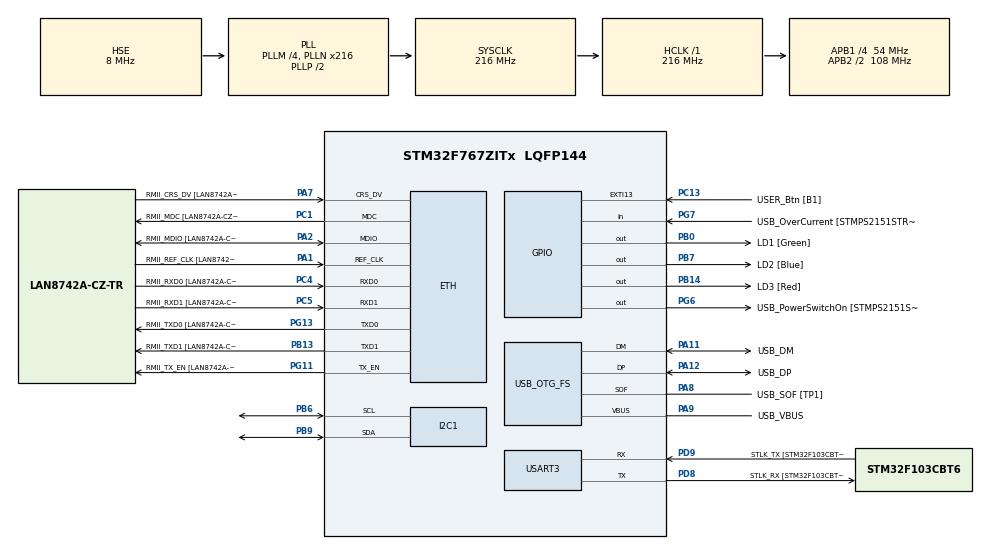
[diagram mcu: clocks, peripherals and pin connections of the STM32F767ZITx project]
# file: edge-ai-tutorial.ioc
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ADC1.Channel-0\#ChannelRegularConversion=ADC_CHANNEL_TEMPSENSOR
ADC1.NbrOfConversionFlag=1
ADC1.Rank-0\#ChannelRegularConversion=1
ADC1.SamplingTime-0\#ChannelRegularConversion=ADC_SAMPLETIME_480CYCLES
ADC1.master=1
CORTEX_M7.CPU_DCache=Enabled
CORTEX_M7.CPU_ICache=Enabled
CORTEX_M7.default_mode_Activation=1
ETH.MediaInterface=HAL_ETH_RMII_MODE
ETH.PHY_Name=LAN8742A_PHY_ADDRESS
ETH.PHY_Value=0
ETH.PhyAddress=0
FREERTOS.Tasks01=defaultTask,24,1024,StartDefaultTask,Default,NULL,Dynamic,NULL,NULL
FREERTOS.configUSE_NEWLIB_REENTRANT=1
I2C1.Timing=0x20404768
LWIP.BSP.number=1
LWIP.IP_ADDRESS=192.168.010.002
LWIP.LWIP_DHCP=0
LWIP.LWIP_NETIF_STATUS_CALLBACK=1
LWIP.NETMASK_ADDRESS=255.255.255.000
LWIP.Version=v2.1.2_Cube
LWIP0.BSP.STBoard=false
LWIP0.BSP.api=BSP_COMPONENT_DRIVER
LWIP0.BSP.component=LAN8742
LWIP0.BSP.instance=LAN8742
LWIP0.BSP.name=Driver_PHY
LWIP0.BSP.semaphore=S_LAN8742
LWIP0.BSP.solution=LAN8742
Mcu.Family=STM32F7
Mcu.Name=STM32F767ZITx
Mcu.Package=LQFP144
NVIC.ETH_IRQn=true\:5\:0\:false\:false\:true\:true\:false\:true\:true
NVIC.OTG_FS_IRQn=true\:5\:0\:false\:false\:true\:true\:false\:true\:true
NVIC.PriorityGroup=NVIC_PRIORITYGROUP_4
NVIC.TIM8_TRG_COM_TIM14_IRQn=true\:15\:0\:false\:false\:true\:false\:false\:true\:true
NVIC.TimeBase=TIM8_TRG_COM_TIM14_IRQn
NVIC.TimeBaseIP=TIM14
PA1.GPIO_Label=RMII_REF_CLK [LAN8742A-CZ-TR_REFCLK0]
PA1.Mode=RMII
PA1.Signal=ETH_REF_CLK
PA10.GPIO_Label=USB_ID
PA10.Signal=USB_OTG_FS_ID
PA11.GPIO_Label=USB_DM
PA11.Mode=Device_Only
PA11.Signal=USB_OTG_FS_DM
PA12.GPIO_Label=USB_DP
PA12.Mode=Device_Only
PA12.Signal=USB_OTG_FS_DP
PA13.GPIO_Label=TMS
PA13.Mode=Serial_Wire
PA13.Signal=SYS_JTMS-SWDIO
PA14.GPIO_Label=TCK
PA14.Mode=Serial_Wire
PA14.Signal=SYS_JTCK-SWCLK
PA2.GPIO_Label=RMII_MDIO [LAN8742A-CZ-TR_MDIO]
PA2.Mode=RMII
PA2.Signal=ETH_MDIO
PA7.GPIO_Label=RMII_CRS_DV [LAN8742A-CZ-TR_CRS_DV]
PA7.Mode=RMII
PA7.Signal=ETH_CRS_DV
PA8.GPIO_Label=USB_SOF [TP1]
PA8.Mode=Activate_SOF_FS
PA8.Signal=USB_OTG_FS_SOF
PA9.GPIO_Label=USB_VBUS
PA9.Mode=Activate_VBUS
PA9.Signal=USB_OTG_FS_VBUS
PB0.GPIO_Label=LD1 [Green]
PB0.Signal=GPIO_Output
PB13.GPIO_Label=RMII_TXD1 [LAN8742A-CZ-TR_TXD1]
PB13.Mode=RMII
PB13.Signal=ETH_TXD1
PB14.GPIO_Label=LD3 [Red]
PB14.Signal=GPIO_Output
PB3.GPIO_Label=SWO
PB3.Signal=SYS_JTDO-SWO
PB6.Mode=I2C
PB6.Signal=I2C1_SCL
PB7.GPIO_Label=LD2 [Blue]
PB7.Signal=GPIO_Output
PB9.Mode=I2C
PB9.Signal=I2C1_SDA
PC1.GPIO_Label=RMII_MDC [LAN8742A-CZ-TR_MDC]
PC1.Mode=RMII
PC1.Signal=ETH_MDC
PC13.GPIO_Label=USER_Btn [B1]
PC13.Signal=GPXTI13
PC14/OSC32_IN.Mode=LSE-External-Oscillator
PC14/OSC32_IN.Signal=RCC_OSC32_IN
PC15/OSC32_OUT.Mode=LSE-External-Oscillator
PC15/OSC32_OUT.Signal=RCC_OSC32_OUT
PC4.GPIO_Label=RMII_RXD0 [LAN8742A-CZ-TR_RXD0]
PC4.Mode=RMII
PC4.Signal=ETH_RXD0
PC5.GPIO_Label=RMII_RXD1 [LAN8742A-CZ-TR_RXD1]
PC5.Mode=RMII
PC5.Signal=ETH_RXD1
PD8.GPIO_Label=STLK_RX [STM32F103CBT6_PA3]
PD8.Mode=Asynchronous
PD8.Signal=USART3_TX
PD9.GPIO_Label=STLK_TX [STM32F103CBT6_PA2]
PD9.Mode=Asynchronous
PD9.Signal=USART3_RX
PG11.GPIO_Label=RMII_TX_EN [LAN8742A-CZ-TR_TXEN]
PG11.Mode=RMII
PG11.Signal=ETH_TX_EN
PG13.GPIO_Label=RMII_TXD0 [LAN8742A-CZ-TR_TXD0]
PG13.Mode=RMII
PG13.Signal=ETH_TXD0
PG6.GPIO_Label=USB_PowerSwitchOn [STMPS2151STR_EN]
PG6.Signal=GPIO_Output
PG7.GPIO_Label=USB_OverCurrent [STMPS2151STR_FAULT]
PG7.Signal=GPIO_Input
PH0/OSC_IN.GPIO_Label=MCO [STM32F103CBT6_PA8]
PH0/OSC_IN.Mode=HSE-External-Clock-Source
PH0/OSC_IN.Signal=RCC_OSC_IN
PH1/OSC_OUT.Mode=HSE-External-Clock-Source
PH1/OSC_OUT.Signal=RCC_OSC_OUT
ProjectManager.HeapSize=0x800
ProjectManager.StackSize=0x800
ProjectManager.TargetToolchain=CMake
RCC.48MHZClocksFreq_Value=24000000
RCC.AHBFreq_Value=216000000
RCC.APB1CLKDivider=RCC_HCLK_DIV4
RCC.APB1Freq_Value=54000000
RCC.APB1TimFreq_Value=108000000
RCC.APB2CLKDivider=RCC_HCLK_DIV2
RCC.APB2Freq_Value=108000000
RCC.APB2TimFreq_Value=216000000
RCC.CortexFreq_Value=216000000
RCC.HCLKFreq_Value=216000000
RCC.HSE_VALUE=8000000
RCC.HSI_VALUE=16000000
RCC.PLLM=4
RCC.PLLMUL=RCC_PLL_MUL9
RCC.PLLN=216
RCC.PLLQ=9
RCC.PRESCALERUSB=RCC_USBCLKSOURCE_PLL_DIV1_5
RCC.SYSCLKFreq_VALUE=216000000
RCC.SYSCLKSource=RCC_SYSCLKSOURCE_PLLCLK
RCC.SYSCLKSourceVirtual=RCC_SYSCLKSOURCE_PLLCLK
RCC.USBFreq_Value=48000000
RCC.VCOOutputFreq_Value=432000000
STMicroelectronics.X-CUBE-AI.10.2.1.ActivationBufferSizeList=7324
STMicroelectronics.X-CUBE-AI.10.2.1.ActivationBuffers=pool0
STMicroelectronics.X-CUBE-AI.10.2.1.ActivationNames=pool0
STMicroelectronics.X-CUBE-AI.10.2.1.ActivationSizes=AI_NETWORK_DATA_ACTIVATION_1_SIZE
STMicroelectronics.X-CUBE-AI.10.2.1.HeapSize=0x800
STMicroelectronics.X-CUBE-AI.10.2.1.InternalRamActivationBufferMaxSize=AI_NETWORK_DATA_ACTIVATIONS_SIZE
STMicroelectronics.X-CUBE-AI.10.2.1.LatestDirectoryUsed-4eaf82dbde58e132aa808655530789ed5f3316c845cd192a6f202aa0ff238bca=/Users/eren.akyol/Desktop/myTutorials/stm32-workspace/edge-ai-tutorial/ml/models
STMicroelectronics.X-CUBE-AI.10.2.1.MaximumNumberOfInputLayer=1
STMicroelectronics.X-CUBE-AI.10.2.1.MaximumNumberOfOutputLayer=1
STMicroelectronics.X-CUBE-AI.10.2.1.MaximumSizeOfInputLayer=1
STMicroelectronics.X-CUBE-AI.10.2.1.MaximumSizeOfOutputLayer=1
STMicroelectronics.X-CUBE-AI.10.2.1.ModelActualCompression-4eaf82dbde58e132aa808655530789ed5f3316c845cd192a6f202aa0ff238bca=0.0
STMicroelectronics.X-CUBE-AI.10.2.1.ModelCompression-4eaf82dbde58e132aa808655530789ed5f3316c845cd192a6f202aa0ff238bca=None
STMicroelectronics.X-CUBE-AI.10.2.1.ModelFlashOccupation-4eaf82dbde58e132aa808655530789ed5f3316c845cd192a6f202aa0ff238bca=18976
STMicroelectronics.X-CUBE-AI.10.2.1.ModelHashList=4eaf82dbde58e132aa808655530789ed5f3316c845cd192a6f202aa0ff238bca
STMicroelectronics.X-CUBE-AI.10.2.1.ModelKind-4eaf82dbde58e132aa808655530789ed5f3316c845cd192a6f202aa0ff238bca=TFLITE
STMicroelectronics.X-CUBE-AI.10.2.1.ModelMacc-4eaf82dbde58e132aa808655530789ed5f3316c845cd192a6f202aa0ff238bca=42776
STMicroelectronics.X-CUBE-AI.10.2.1.ModelName-4eaf82dbde58e132aa808655530789ed5f3316c845cd192a6f202aa0ff238bca=network
STMicroelectronics.X-CUBE-AI.10.2.1.ModelNameList=network
STMicroelectronics.X-CUBE-AI.10.2.1.ModelRamOccupation-4eaf82dbde58e132aa808655530789ed5f3316c845cd192a6f202aa0ff238bca=7324
STMicroelectronics.X-CUBE-AI.10.2.1.ModelStructureFile-4eaf82dbde58e132aa808655530789ed5f3316c845cd192a6f202aa0ff238bca=ml/models/gesture_model.tflite
STMicroelectronics.X-CUBE-AI.10.2.1.ModelType-4eaf82dbde58e132aa808655530789ed5f3316c845cd192a6f202aa0ff238bca=STM32Cube.AI MCU runtime
STMicroelectronics.X-CUBE-AI.10.2.1.ReadyForCodeGeneration=true
STMicroelectronics.X-CUBE-AI.10.2.1.StackSize=0x800
STMicroelectronics.X-CUBE-AI.10.2.1.WorkingBufferStartAddrList=0xFFFFFFFF
STMicroelectronics.X-CUBE-AI.10.2.1.XAaCUBEAaAICcArtificialOoIntelligenceJjCore=true
STMicroelectronics.X-CUBE-AI.10.2.1.copyWeightToRam=false
STMicroelectronics.X-CUBE-AI.10.2.1.customLayerConfigEnabled=false
STMicroelectronics.X-CUBE-AI.10.2.1.noOnnxIoTranspose=false
STMicroelectronics.X-CUBE-AI.10.2.1.useInputAllocation=true
STMicroelectronics.X-CUBE-AI.10.2.1.useOutputAllocation=true
STMicroelectronics.X-CUBE-AZRTOS-F7.1.1.0_IsAnAzureRtosMw=true
USART3.VirtualMode-Asynchronous=VM_ASYNC
USB_DEVICE.CLASS_NAME_FS=CDC
USB_DEVICE.VirtualMode-CDC_FS=Cdc
USB_DEVICE.VirtualModeFS=Cdc_FS
USB_OTG_FS.VirtualMode=Device_Only
VP_ADC1_TempSens_Input.Mode=IN-TempSens
VP_FREERTOS_VS_CMSIS_V2.Mode=CMSIS_V2
VP_LWIP_VS_Enabled.Mode=Enabled
VP_STMicroelectronics.X-CUBE-AI_VS_ArtificialOoIntelligenceJjXAaCUBEAaAI_10.2.1.Mode=ArtificialOoIntelligenceJjXAaCUBEAaAI
VP_SYS_VS_tim14.Mode=TIM14
VP_USB_DEVICE_VS_USB_DEVICE_CDC_FS.Mode=CDC_FS
board=NUCLEO-F767ZI

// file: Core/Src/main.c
/* USER CODE BEGIN Header */
/**
  ******************************************************************************
  * @file           : main.c
  * @brief          : Main program body
  ******************************************************************************
  * @attention
  *
  * Copyright (c) 2025 STMicroelectronics.
  * All rights reserved.
  *
  * This software is licensed under terms that can be found in the LICENSE file
  * in the root directory of this software component.
  * If no LICENSE file comes with this software, it is provided AS-IS.
  *
  ******************************************************************************
  */
/* USER CODE END Header */
#include "main.h"
#include "cmsis_os.h"
#include "adc.h"
#include "i2c.h"
#include "lwip.h"
#include "usart.h"
#include "usb_device.h"
#include "gpio.h"

void SystemClock_Config(void);
static void MPU_Config(void);
void MX_FREERTOS_Init(void);

/* USER CODE BEGIN 0 */
uint8_t demoVal = 0;
/* USER CODE END 0 */

int main(void)
{

  /* MPU Configuration--------------------------------------------------------*/
  MPU_Config();

  /* Enable the CPU Cache */

  /* Enable I-Cache---------------------------------------------------------*/
  SCB_EnableICache();

  /* Enable D-Cache---------------------------------------------------------*/
  SCB_EnableDCache();

  /* MCU Configuration--------------------------------------------------------*/

  /* Reset of all peripherals, Initializes the Flash interface and the Systick. */
  HAL_Init();

  /* Configure the system clock */
  SystemClock_Config();

  /* Initialize all configured peripherals */
  MX_GPIO_Init();
  MX_USART3_UART_Init();
  MX_ADC1_Init();
  MX_I2C1_Init();

  /* Init scheduler */
  osKernelInitialize();  /* Call init function for freertos objects (in cmsis_os2.c) */
  MX_FREERTOS_Init();

  /* Start scheduler */
  osKernelStart();

  /* We should never get here as control is now taken by the scheduler */

  /* Infinite loop */
  while (1)
  {

  }
}

void SystemClock_Config(void)
{
  RCC_OscInitTypeDef RCC_OscInitStruct = {0};
  RCC_ClkInitTypeDef RCC_ClkInitStruct = {0};

  /** Configure LSE Drive Capability
  */
  HAL_PWR_EnableBkUpAccess();

  /** Configure the main internal regulator output voltage
  */
  __HAL_RCC_PWR_CLK_ENABLE();
  __HAL_PWR_VOLTAGESCALING_CONFIG(PWR_REGULATOR_VOLTAGE_SCALE1);

  /** Initializes the RCC Oscillators according to the specified parameters
  * in the RCC_OscInitTypeDef structure.
  */
  RCC_OscInitStruct.OscillatorType = RCC_OSCILLATORTYPE_HSE;
  RCC_OscInitStruct.HSEState = RCC_HSE_BYPASS;
  RCC_OscInitStruct.PLL.PLLState = RCC_PLL_ON;
  RCC_OscInitStruct.PLL.PLLSource = RCC_PLLSOURCE_HSE;
  RCC_OscInitStruct.PLL.PLLM = 4;
  RCC_OscInitStruct.PLL.PLLN = 216;
  RCC_OscInitStruct.PLL.PLLP = RCC_PLLP_DIV2;
  RCC_OscInitStruct.PLL.PLLQ = 9;
  RCC_OscInitStruct.PLL.PLLR = 2;
  if (HAL_RCC_OscConfig(&RCC_OscInitStruct) != HAL_OK)
  {
    Error_Handler();
  }

  /** Activate the Over-Drive mode
  */
  if (HAL_PWREx_EnableOverDrive() != HAL_OK)
  {
    Error_Handler();
  }

  /** Initializes the CPU, AHB and APB buses clocks
  */
  RCC_ClkInitStruct.ClockType = RCC_CLOCKTYPE_HCLK|RCC_CLOCKTYPE_SYSCLK
                              |RCC_CLOCKTYPE_PCLK1|RCC_CLOCKTYPE_PCLK2;
  RCC_ClkInitStruct.SYSCLKSource = RCC_SYSCLKSOURCE_PLLCLK;
  RCC_ClkInitStruct.AHBCLKDivider = RCC_SYSCLK_DIV1;
  RCC_ClkInitStruct.APB1CLKDivider = RCC_HCLK_DIV4;
  RCC_ClkInitStruct.APB2CLKDivider = RCC_HCLK_DIV2;

  if (HAL_RCC_ClockConfig(&RCC_ClkInitStruct, FLASH_LATENCY_7) != HAL_OK)
  {
    Error_Handler();
  }
}

 /* MPU Configuration */

void MPU_Config(void)
{
  MPU_Region_InitTypeDef MPU_InitStruct = {0};

  /* Disables the MPU */
  HAL_MPU_Disable();

  /** Initializes and configures the Region and the memory to be protected
  */
  MPU_InitStruct.Enable = MPU_REGION_ENABLE;
  MPU_InitStruct.Number = MPU_REGION_NUMBER0;
  MPU_InitStruct.BaseAddress = 0x0;
  MPU_InitStruct.Size = MPU_REGION_SIZE_4GB;
  MPU_InitStruct.SubRegionDisable = 0x87;
  MPU_InitStruct.TypeExtField = MPU_TEX_LEVEL0;
  MPU_InitStruct.AccessPermission = MPU_REGION_NO_ACCESS;
  MPU_InitStruct.DisableExec = MPU_INSTRUCTION_ACCESS_DISABLE;
  MPU_InitStruct.IsShareable = MPU_ACCESS_SHAREABLE;
  MPU_InitStruct.IsCacheable = MPU_ACCESS_NOT_CACHEABLE;
  MPU_InitStruct.IsBufferable = MPU_ACCESS_NOT_BUFFERABLE;

  HAL_MPU_ConfigRegion(&MPU_InitStruct);
  /* Enables the MPU */
  HAL_MPU_Enable(MPU_PRIVILEGED_DEFAULT);

}

void HAL_TIM_PeriodElapsedCallback(TIM_HandleTypeDef *htim)
{
  if (htim->Instance == TIM14)
  {
    HAL_IncTick();
  }
}

void Error_Handler(void)
{
  __disable_irq();
  while (1)
  {
  }
}

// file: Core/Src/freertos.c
/* USER CODE BEGIN Header */
/**
  ******************************************************************************
  * File Name          : freertos.c
  * Description        : Code for freertos applications
  ******************************************************************************
  * @attention
  *
  * Copyright (c) 2026 STMicroelectronics.
  * All rights reserved.
  *
  * This software is licensed under terms that can be found in the LICENSE file
  * in the root directory of this software component.
  * If no LICENSE file comes with this software, it is provided AS-IS.
  *
  ******************************************************************************
  */
/* USER CODE END Header */

#include "FreeRTOS.h"
#include "task.h"
#include "main.h"
#include "cmsis_os.h"

/* USER CODE BEGIN Includes */
#include "lwip.h"
#include "usbd_cdc_if.h"
#include "MqttService.h"
#include "ApplicationWrapper.h"
#include <stdio.h>
/* USER CODE END Includes */

/* USER CODE BEGIN PD */
/* Set to 1 to send a periodic counter over USB CDC, for verifying the port without Ethernet */
#define USB_CDC_HEARTBEAT_ENABLED 0
/* USER CODE END PD */

/* Definitions for defaultTask */
osThreadId_t defaultTaskHandle;
const osThreadAttr_t defaultTask_attributes = {
  .name = "defaultTask",
  .stack_size = 1024 * 4,
  .priority = (osPriority_t) osPriorityNormal,
};

/* USER CODE BEGIN FunctionPrototypes */
#if USB_CDC_HEARTBEAT_ENABLED
static void USB_CDC_TestHeartbeat(void);
#endif
/* USER CODE END FunctionPrototypes */

void StartDefaultTask(void *argument);

extern void MX_LWIP_Init(void);
extern void MX_USB_DEVICE_Init(void);
void MX_FREERTOS_Init(void); /* (MISRA C 2004 rule 8.1) */

void MX_FREERTOS_Init(void) {

  /* Create the thread(s) */
  /* creation of defaultTask */
  defaultTaskHandle = osThreadNew(StartDefaultTask, NULL, &defaultTask_attributes);

}

void StartDefaultTask(void *argument)
{
  /* init code for LWIP */
  MX_LWIP_Init();

  /* init code for USB_DEVICE */
  MX_USB_DEVICE_Init();
  /* USER CODE BEGIN StartDefaultTask */
  App_Init();
  mqttServiceInit();

  /* Infinite loop */
#if USB_CDC_HEARTBEAT_ENABLED
  uint32_t lastHeartbeatTick = 0;
#endif
  for(;;)
  {
    MX_LWIP_Process();
    mqttServiceProcess();
    App_Run();

#if USB_CDC_HEARTBEAT_ENABLED
    if (HAL_GetTick() - lastHeartbeatTick >= 1000)
    {
      lastHeartbeatTick = HAL_GetTick();
      USB_CDC_TestHeartbeat();
    }
#endif

    osDelay(10);
  }
  /* USER CODE END StartDefaultTask */
}

/* USER CODE BEGIN Application */

#if USB_CDC_HEARTBEAT_ENABLED
/**
  * @brief  Sends an incrementing test message over USB CDC, used to verify
  *         the virtual COM port is alive independently of the Ethernet link.
  * @retval None
  */
static void USB_CDC_TestHeartbeat(void)
{
  static uint32_t counter = 0;
  char msg[32];
  int len = snprintf(msg, sizeof(msg), "USB CDC test #%lu\r\n", (unsigned long)counter++);
  CDC_Transmit_FS((uint8_t *)msg, (uint16_t)len);
}
#endif

/* USER CODE END Application */
